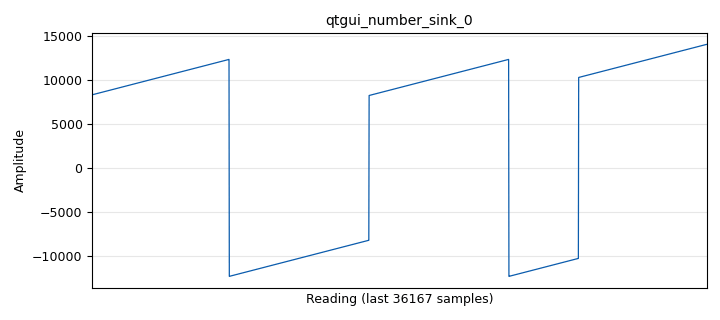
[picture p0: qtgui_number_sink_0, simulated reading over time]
options:
  parameters:
    generate_options: qt_gui
    id: Diferenciador
    output_language: python
    title: Not titled yet
  states: {}

blocks:
- name: samp_rate
  id: variable
  parameters:
    value: '32000'
  states: {}
- name: blocks_vector_source_x_0
  id: blocks_vector_source_x
  parameters:
    repeat: 'True'
    type: float
    vector: (1, 5, -1,-3)
  states: {}
- name: epy_block_1
  id: epy_block
  parameters:
    _source_code: |
      import numpy as np
      from gnuradio import gr


      class blk(gr.sync_block):  # other base classes are basic_block, decim_block, interp_block
          """Embedded Python Block example - a simple multiply const"""

          def __init__(self):  # only default arguments here
              """arguments to this function show up as parameters in GRC"""
              gr.sync_block.__init__(
                  self,
                  name='e_Diff',   # will show up in GRC
                  in_sig=[np.float32],
                  out_sig=[np.float32]
                  
              )
              
              self.acum_anterior = 0
              # if an attribute with the same name as a parameter is found,
              # a callback is registered (properties work, too).


          def work(self, input_items, output_items):
              """example: multiply with constant"""
              x= input_items[0]
              y0= output_items[0]
              
              N=len(x)
              diff=np.cumsum(x)-self.acum_anterior
              self.acum_anterior = diff[N-1]
              y0[:]=diff
              
          
              return len(y0)
  states: {}
- name: qtgui_number_sink_0
  id: qtgui_number_sink
  parameters:
    graph_type: qtgui.NUM_GRAPH_HORIZ
    type: float
  states: {}

connections:
- [blocks_vector_source_x_0, '0', epy_block_1, '0']
- [epy_block_1, '0', qtgui_number_sink_0, '0']

metadata:
  file_format: 1
  grc_version: 3.9.8.0
